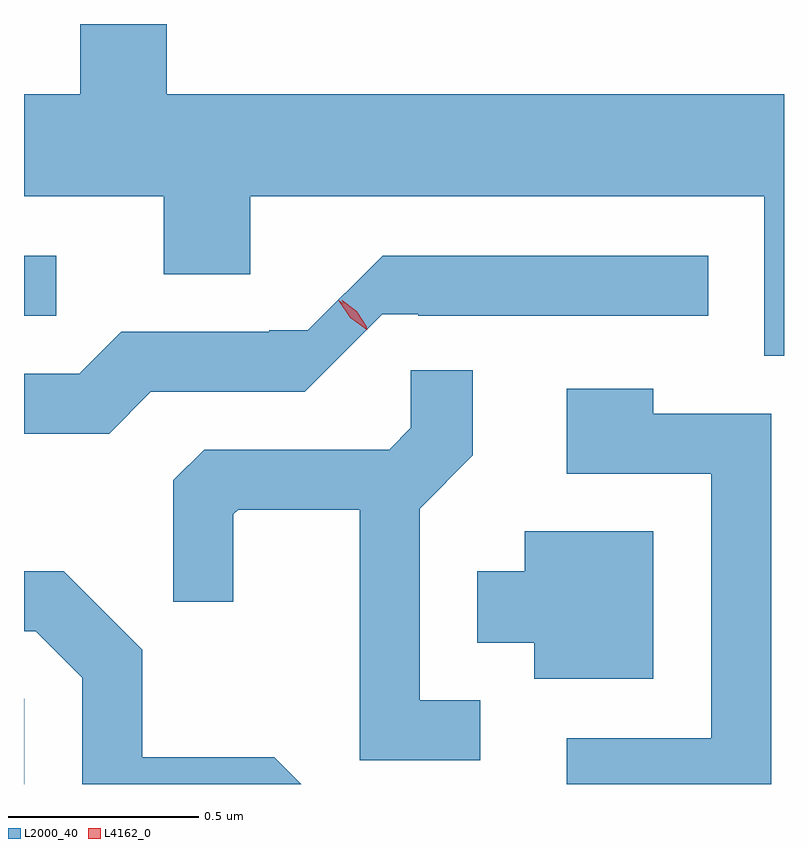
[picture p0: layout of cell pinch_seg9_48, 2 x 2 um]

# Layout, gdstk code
import gdstk
lib = gdstk.Library(unit=1e-6, precision=1e-09)
def R(c, l, rs):  # rectangles x0, y0, x1, y1
    for r in rs: c.add(gdstk.rectangle(r[:2], r[2:], *l))
def P(c, l, *ps):  # polygons
    for p in ps: c.add(gdstk.Polygon(p, *l))
L2000_40 = (2000, 40)
L4162_0 = (4162, 0)

pinch_seg9_48 = lib.new_cell('pinch_seg9_48')
R(pinch_seg9_48, L2000_40, [(639.783,2005.809,639.784,2006.033), (639.783,2007.041,639.868,2007.199)])
P(pinch_seg9_48, L2000_40, [(641.783,2007.624),(640.159,2007.624),(640.159,2007.809),(639.931,2007.809),(639.931,2007.624),(639.783,2007.624),(639.783,2007.356),(640.151,2007.356),(640.151,2007.151),(640.379,2007.151),(640.379,2007.356),(641.731,2007.356),(641.731,2006.936),(641.783,2006.936)],
  [(640.117,2006.841),(640.522,2006.841),(640.726,2007.045),(640.82,2007.045),(640.82,2007.041),(641.583,2007.041),(641.583,2007.199),(640.727,2007.199),(640.53,2007.003),(640.428,2007.003),(640.428,2006.999),(640.039,2006.999),(639.929,2006.889),(639.783,2006.889),(639.783,2006.731),(640.007,2006.731)],
  [(640.983,2006.029),(640.824,2006.029),(640.824,2006.534),(640.964,2006.674),(640.964,2006.898),(640.801,2006.898),(640.801,2006.747),(640.744,2006.689),(640.257,2006.689),(640.176,2006.609),(640.176,2006.288),(640.334,2006.288),(640.334,2006.519),(640.347,2006.531),(640.666,2006.531),(640.666,2005.871),(640.983,2005.871)],
  [(641.749,2006.784),(641.439,2006.784),(641.439,2006.849),(641.211,2006.849),(641.211,2006.626),(641.591,2006.626),(641.591,2005.929),(641.211,2005.929),(641.211,2005.809),(641.749,2005.809)],
  [(641.439,2006.474),(641.101,2006.474),(641.101,2006.369),(640.976,2006.369),(640.976,2006.181),(641.126,2006.181),(641.126,2006.086),(641.439,2006.086)],
  [(640.442,2005.879),(640.094,2005.879),(640.094,2006.162),(639.887,2006.369),(639.783,2006.369),(639.783,2006.211),(639.814,2006.211),(639.936,2006.089),(639.936,2005.809),(640.512,2005.809)])
P(pinch_seg9_48, L4162_0, [(640.684,2007.011),(640.645,2007.04),(640.619,2007.082),(640.619,2007.082),(640.62,2007.082),(640.659,2007.053),(640.685,2007.012),(640.685,2007.011)],
  [(640.685,2007.005),(640.641,2007.036),(640.611,2007.081),(640.611,2007.082),(640.611,2007.082),(640.655,2007.05),(640.686,2007.006),(640.686,2007.005)])

lib.write_gds('pinch_seg9_48.gds')
